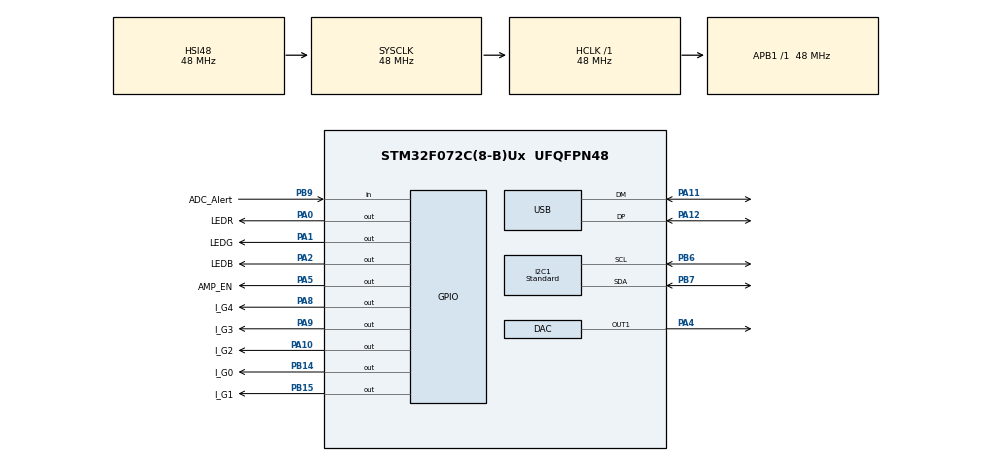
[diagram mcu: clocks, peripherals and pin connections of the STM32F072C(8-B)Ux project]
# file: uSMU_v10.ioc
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Mcu.Family=STM32F0
USB_DEVICE.CLASS_NAME_FS=CDC
I2C1.I2C_Speed_Mode=I2C_Standard
NVIC.USB_IRQn=true\:0\:0\:false\:false\:true\:false\:true
I2C1.GeneralCallMode=I2C_GENERALCALL_DISABLE
USB_DEVICE.INTERFACE_STRING_CDC_FS=CDC Interface
PA10.GPIO_PuPd=GPIO_PULLDOWN
USB_DEVICE.PID_CDC_FS=22336
PB14.GPIO_Label=I_G0
I2C1.I2C_Rise_Time=0
PA0.GPIO_Label=LEDR
PA11.Mode=Device
USB.lpm_enable=DISABLE
PB15.Signal=GPIO_Output
RCC.SYSCLKSource=RCC_SYSCLKSOURCE_HSI48
ProjectManager.StackSize=0x400
USB_DEVICE.MANUFACTURER_STRING=STMicroelectronics
PA12.Signal=USB_DP
USB_DEVICE.USBD_MAX_NUM_INTERFACES=1
RCC.HCLKFreq_Value=48000000
RCC.FLatency=FLASH_LATENCY_1
PB6.Signal=I2C1_SCL
PB6.Mode=I2C
I2C1.AddressingMode=I2C_ADDRESSINGMODE_7BIT
RCC.AHBFreq_Value=48000000
DAC.DAC_Trigger-DAC_OUT1=DAC_TRIGGER_NONE
I2C1.NoStretchMode=I2C_NOSTRETCH_DISABLE
USB_DEVICE.USBD_SELF_POWERED=0
PA14.Mode=Serial_Wire
PA10.GPIO_Label=I_G2
PB7.Signal=I2C1_SDA
PA8.Signal=GPIO_Output
PA0.Signal=GPIO_Output
Mcu.Package=UFQFPN48
PB9.Signal=GPIO_Input
PB14.GPIO_PuPd=GPIO_PULLDOWN
PB15.GPIO_PuPd=GPIO_PULLDOWN
PA2.GPIO_Label=LEDB
PA10.Signal=GPIO_Output
USB.DeviceSpeed=PCD_SPEED_FULL
RCC.APB1TimFreq_Value=48000000
USB_DEVICE.USBD_DEBUG_LEVEL=0
SH.COMP_DAC1_group.0=DAC_OUT1,DAC_OUT1
I2C1.Speed=100
PB9.GPIO_Label=ADC_Alert
USB_DEVICE.VirtualModeFS=Cdc_FS
I2C1.I2C_Fall_Time=0
PA9.GPIO_Label=I_G3
PA9.GPIO_PuPd=GPIO_PULLDOWN
I2C1.Analog_Filter=I2C_ANALOGFILTER_ENABLE
I2C1.DualAddressMode=I2C_DUALADDRESS_DISABLE
PA13.Signal=SYS_SWDIO
PA8.GPIO_Label=I_G4
USB_DEVICE.VID=1155
ProjectManager.TargetToolchain=STM32CubeIDE
USB_DEVICE.PRODUCT_STRING_CDC_FS=STM32 Virtual ComPort
I2C1.I2C_Coeff_DF=0
VP_USB_DEVICE_VS_USB_DEVICE_CDC_FS.Mode=CDC_FS
PA9.Signal=GPIO_Output
USB_DEVICE.CONFIGURATION_STRING_CDC_FS=CDC Config
PA1.Signal=GPIO_Output
PB14.Signal=GPIO_Output
PA5.Signal=GPIO_Output
USB_DEVICE.LANGID_STRING=1033
board=custom
USB.low_power_enable=DISABLE
PB15.GPIO_Label=I_G1
PA1.GPIO_Label=LEDG
PA13.Mode=Serial_Wire
Mcu.Name=STM32F072C(8-B)Ux
PA2.Signal=GPIO_Output
I2C1.OwnAddress=0
PA4.Signal=COMP_DAC1_group
RCC.SYSCLKFreq_VALUE=48000000
PA12.Mode=Device
PA5.GPIO_Label=AMP_EN
DAC.DAC_OutputBuffer-DAC_OUT1=DAC_OUTPUTBUFFER_ENABLE
PB7.Mode=I2C
PA11.Signal=USB_DM
USB_DEVICE.APP_TX_DATA_SIZE=1000
PA14.Signal=SYS_SWCLK
ProjectManager.HeapSize=0x200
USB_DEVICE.USBD_MAX_NUM_CONFIGURATION=1
PA8.GPIO_PuPd=GPIO_PULLDOWN
USB.phy_itface=PCD_PHY_EMBEDDED
USB_DEVICE.APP_RX_DATA_SIZE=1000
RCC.APB1Freq_Value=48000000
USB_DEVICE.VirtualMode=Cdc
USB_DEVICE.USBD_MAX_STR_DESC_SIZ=512

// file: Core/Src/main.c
/* USER CODE BEGIN Header */
/**
 ******************************************************************************
 * @file           : main.c
 * @brief          : Main program body
 ******************************************************************************
 * @attention
 *
 * <h2><center>&copy; Copyright (c) 2021 STMicroelectronics.
 * All rights reserved.</center></h2>
 *
 * This software component is licensed by ST under Ultimate Liberty license
 * SLA0044, the "License"; You may not use this file except in compliance with
 * the License. You may obtain a copy of the License at:
 *                             www.st.com/SLA0044
 *
 ******************************************************************************
 */
/* USER CODE END Header */
#include "main.h"
#include "usb_device.h"

/* USER CODE BEGIN Includes */
#include "usbd_cdc_if.h"
#include "stdbool.h"
#include "stdlib.h"

#include "ee.h"
/* USER CODE END Includes */

/* USER CODE BEGIN PTD */
#define ADS1115_ADDRESS 0x48 // I2C addresses of ADC and DAC
#define DAC8571_ADDRESS 0x4C
/* USER CODE END PTD */

DAC_HandleTypeDef hdac;

I2C_HandleTypeDef hi2c1;

/* USER CODE BEGIN PV */
uint8_t UserRxBuffer[128];
volatile bool usbMessageReceived = false;

bool calibration_mode = false;
bool auto_gain_active = true;

float shunt_resistance = 49.9; // Resistance of shunt resistor in ohms

float i_amp_gain = 1.375; // Gain setting of current-sense amplifier

uint16_t num_oversamples = 25;

float x_ilim = 0;
float y_ilim = 0;

float dac_xadj = 0;
float dac_yadj = 0;

float zerocurrent_x = 0;
float zerocurrent_y = 0;

// 1.375x gain
float zerocurrent_x_1p375 = 0;
float zerocurrent_y_1p375 = 0;

// 8x gain
float zerocurrent_x_8 = 0;
float zerocurrent_y_8 = 0;

// 64x gain
float zerocurrent_x_64 = 0;
float zerocurrent_y_64 = 0;

// 176x gain
float zerocurrent_x_176 = 0;
float zerocurrent_y_176 = 0;

float v_xadj = 0;
float v_yadj = 0;

/* USER CODE END PV */

void SystemClock_Config(void);
static void MX_GPIO_Init(void);
static void MX_DAC_Init(void);
static void MX_I2C1_Init(void);

/* USER CODE BEGIN 0 */
uint16_t adc_read_differential(uint8_t channel)
{
	uint8_t conversion_reg = 0x00;
	uint8_t config_reg = 0x01;
	uint8_t lothresh_reg = 0x02;
	uint8_t hithresh_reg = 0x03;

	unsigned char ADSwrite[6];
	int16_t reading;

	switch (channel)
	{
	case 0:
		ADSwrite[1] = 0b10000011;
		break;
	case 2:
		ADSwrite[1] = 0b10110011;
		break;
	}

	//HAL_GPIO_WritePin(GPIOA, LEDR_Pin, GPIO_PIN_SET);

	ADSwrite[0] = config_reg; // Point to config register
	ADSwrite[2] = 0b10001000; // 128SPS. For Alert pin, set COMP_QUE to anything but 11. Active low

	HAL_I2C_Master_Transmit(&hi2c1, ADS1115_ADDRESS << 1, ADSwrite, 3, 100);

	while (HAL_GPIO_ReadPin(ADC_Alert_GPIO_Port, ADC_Alert_Pin) == 0)
	{
		//HAL_GPIO_WritePin(GPIOA, LEDR_Pin, GPIO_PIN_RESET);
	}
	//HAL_GPIO_WritePin(GPIOA, LEDR_Pin, GPIO_PIN_SET);

	ADSwrite[0] = conversion_reg; // Now point to conversion register

	HAL_I2C_Master_Transmit(&hi2c1, ADS1115_ADDRESS << 1, ADSwrite, 1, 100);

	HAL_I2C_Master_Receive(&hi2c1, ADS1115_ADDRESS << 1, ADSwrite, 2, 100);
	reading = (ADSwrite[0] << 8 | ADSwrite[1]);

	return reading;
}

void adc_init()
{
	uint8_t conversion_reg = 0x00;
	uint8_t config_reg = 0x01;
	uint8_t lothresh_reg = 0x02;
	uint8_t hithresh_reg = 0x03;

	unsigned char ADSwrite[6];

	ADSwrite[0] = hithresh_reg;
	ADSwrite[1] = 0x80;
	ADSwrite[2] = 0x00;
	HAL_I2C_Master_Transmit(&hi2c1, ADS1115_ADDRESS << 1, ADSwrite, 3, 100);

	ADSwrite[0] = lothresh_reg;
	ADSwrite[1] = 0x7F;
	ADSwrite[2] = 0xFF;
	HAL_I2C_Master_Transmit(&hi2c1, ADS1115_ADDRESS << 1, ADSwrite, 3, 100);
}

uint16_t adc_read_singleended(uint8_t channel)
{
	uint8_t conversion_reg = 0x00;
	uint8_t config_reg = 0x01;

	unsigned char ADSwrite[6];
	int16_t reading;

	switch (channel)
	{
	case 0:
		ADSwrite[1] = 0xC3;
		break;
	case 1:
		ADSwrite[1] = 0xD3;
		break;
	case 2:
		ADSwrite[1] = 0xE3;
		break;
	case 3:
		ADSwrite[1] = 0xF3;
		break;
	}

	ADSwrite[0] = config_reg; // Point to config register
	ADSwrite[2] = 0b10001000; // 128SPS. For Alert pin, set COMP_QUE to anything but 11. Active low

	HAL_I2C_Master_Transmit(&hi2c1, ADS1115_ADDRESS << 1, ADSwrite, 3, 100);

	while (HAL_GPIO_ReadPin(ADC_Alert_GPIO_Port, ADC_Alert_Pin) == 0)
	{
		//HAL_GPIO_WritePin(GPIOA, LEDR_Pin, GPIO_PIN_RESET);
	}
	//HAL_GPIO_WritePin(GPIOA, LEDR_Pin, GPIO_PIN_SET);

	ADSwrite[0] = conversion_reg; // Now point to conversion register

	HAL_I2C_Master_Transmit(&hi2c1, ADS1115_ADDRESS << 1, ADSwrite, 1, 100);

	HAL_I2C_Master_Receive(&hi2c1, ADS1115_ADDRESS << 1, ADSwrite, 2, 100);
	reading = (ADSwrite[0] << 8 | ADSwrite[1]);
	if (reading < 0)
	{
		reading = 0;
	}
	return reading;
}

void set_current_limit(float current_ma)
{
	if (current_ma > 40)
	{
		float current_ma = 40;
	}
	float dac_level = (current_ma * x_ilim) + y_ilim;

	uint16_t dac_level_int = (int) dac_level;

	HAL_DAC_SetValue(&hdac, DAC_CHANNEL_1, DAC_ALIGN_12B_R, dac_level_int);
	HAL_DAC_Start(&hdac, DAC_CHANNEL_1);
}

void DAC8571_amp_dac_write(uint16_t level)
{
	unsigned char DACbuffer[3];

	DACbuffer[0] = 0b00010000; //Set write mode
	DACbuffer[1] = level >> 8;
	DACbuffer[2] = level;

	HAL_I2C_Master_Transmit(&hi2c1, DAC8571_ADDRESS << 1, DACbuffer, 3, 100);
}

void dac_write_voltage(float voltage)
{
	float flevel = (dac_xadj * voltage) + dac_yadj;
	uint16_t level = round(flevel);
	DAC8571_amp_dac_write(level);
}

void adc(uint8_t channel)
{
	uint16_t adc = adc_read_differential(channel);
	char adcmsg[16];
	memset(adcmsg, 0, sizeof(adcmsg));
	sprintf(adcmsg, "%d", adc);
	CDC_Transmit_FS(adcmsg, sizeof(adcmsg));
}

void single_shot()
{
	float voltage_running = 0;
	float current_running = 0;

	for (int i = 0; i < num_oversamples; i++)
	{
		uint16_t v_measure = adc_read_singleended(0);

		int16_t i_measure = adc_read_differential(2);
		float voltage = 0;
		if (calibration_mode == false)
		{
			voltage = (v_measure * v_xadj) + v_yadj;
		}
		else
		{
			voltage = v_measure;
		}

		float current = (i_measure * 0.125 / 1000) / shunt_resistance
				/ i_amp_gain;
		current = current + ((zerocurrent_x * voltage) + zerocurrent_y);
		float current_abs = fabs(current);

		// Set programmable gain amplifier based on the last measured current
		if (auto_gain_active == true)
		{
			if (current_abs > 1E-2)
			{
				// Purple
				set_pga_gain_1p375();
			}
			if (current_abs > 1E-3 && current_abs <= 1E-2)
			{
				// Red
				set_pga_gain_8();
			}
			if (current_abs > 1E-4 && current_abs <= 1E-3)
			{
				// Green
				set_pga_gain_64();
			}
			if (current_abs < 1E-5)
			{
				// Blue
				set_pga_gain_176();
			}
		}

		voltage_running += voltage;
		current_running += current;
	}

	voltage_running /= num_oversamples;
	current_running /= num_oversamples;

	char vmsg[32];
	char imsg[32];

	memset(vmsg, 0, sizeof(vmsg));
	memset(imsg, 0, sizeof(imsg));

	sprintf(vmsg, "%4.3f", voltage_running);
	sprintf(imsg, "%e", current_running);

	strcat(vmsg, ",");
	strcat(vmsg, imsg);

	strcat(vmsg, "\n");
	CDC_Transmit_FS(vmsg, sizeof(vmsg));

}

void set_pga_gain_1p375()
{
	HAL_GPIO_WritePin(GPIOA, LEDR_Pin, GPIO_PIN_RESET);
	HAL_GPIO_WritePin(GPIOA, LEDG_Pin, GPIO_PIN_SET);
	HAL_GPIO_WritePin(GPIOA, LEDB_Pin, GPIO_PIN_RESET);

	HAL_GPIO_WritePin(GPIOB, I_G0_Pin, GPIO_PIN_SET);
	HAL_GPIO_WritePin(GPIOB, I_G1_Pin, GPIO_PIN_SET);
	HAL_GPIO_WritePin(GPIOA, I_G2_Pin, GPIO_PIN_RESET);
	HAL_GPIO_WritePin(GPIOA, I_G3_Pin, GPIO_PIN_RESET);
	HAL_GPIO_WritePin(GPIOA, I_G4_Pin, GPIO_PIN_SET);
	// 01001

	i_amp_gain = 1.375;
	if (calibration_mode == false)
	{
		zerocurrent_x = zerocurrent_x_1p375;
		zerocurrent_y = zerocurrent_y_1p375;
	}
}

void set_pga_gain_8()
{
	HAL_GPIO_WritePin(GPIOA, LEDR_Pin, GPIO_PIN_RESET);
	HAL_GPIO_WritePin(GPIOA, LEDG_Pin, GPIO_PIN_SET);
	HAL_GPIO_WritePin(GPIOA, LEDB_Pin, GPIO_PIN_SET);

	HAL_GPIO_WritePin(GPIOB, I_G0_Pin, GPIO_PIN_RESET);
	HAL_GPIO_WritePin(GPIOB, I_G1_Pin, GPIO_PIN_SET);
	HAL_GPIO_WritePin(GPIOA, I_G2_Pin, GPIO_PIN_SET);
	HAL_GPIO_WritePin(GPIOA, I_G3_Pin, GPIO_PIN_RESET);
	HAL_GPIO_WritePin(GPIOA, I_G4_Pin, GPIO_PIN_RESET);

	i_amp_gain = 8;
	if (calibration_mode == false)
	{
		zerocurrent_x = zerocurrent_x_8;
		zerocurrent_y = zerocurrent_y_8;
	}

}

void set_pga_gain_64()
{
	HAL_GPIO_WritePin(GPIOA, LEDR_Pin, GPIO_PIN_SET);
	HAL_GPIO_WritePin(GPIOA, LEDG_Pin, GPIO_PIN_RESET);
	HAL_GPIO_WritePin(GPIOA, LEDB_Pin, GPIO_PIN_SET);

	HAL_GPIO_WritePin(GPIOB, I_G0_Pin, GPIO_PIN_SET);
	HAL_GPIO_WritePin(GPIOB, I_G1_Pin, GPIO_PIN_RESET);
	HAL_GPIO_WritePin(GPIOA, I_G2_Pin, GPIO_PIN_RESET);
	HAL_GPIO_WritePin(GPIOA, I_G3_Pin, GPIO_PIN_SET);
	HAL_GPIO_WritePin(GPIOA, I_G4_Pin, GPIO_PIN_RESET);

	i_amp_gain = 64;
	if (calibration_mode == false)
	{
		zerocurrent_x = zerocurrent_x_64;
		zerocurrent_y = zerocurrent_y_64;
	}
}

void set_pga_gain_176()
{
	HAL_GPIO_WritePin(GPIOA, LEDR_Pin, GPIO_PIN_SET);
	HAL_GPIO_WritePin(GPIOA, LEDG_Pin, GPIO_PIN_SET);
	HAL_GPIO_WritePin(GPIOA, LEDB_Pin, GPIO_PIN_RESET);

	HAL_GPIO_WritePin(GPIOB, I_G0_Pin, GPIO_PIN_RESET);
	HAL_GPIO_WritePin(GPIOB, I_G1_Pin, GPIO_PIN_SET);
	HAL_GPIO_WritePin(GPIOA, I_G2_Pin, GPIO_PIN_RESET);
	HAL_GPIO_WritePin(GPIOA, I_G3_Pin, GPIO_PIN_SET);
	HAL_GPIO_WritePin(GPIOA, I_G4_Pin, GPIO_PIN_SET);

	i_amp_gain = 176;
	if (calibration_mode == false)
	{
		zerocurrent_x = zerocurrent_x_176;
		zerocurrent_y = zerocurrent_y_176;
	}
}

void read_eeprom()
{
	// Reads calibration data from emulated EEPROM

	uint8_t dataBuffer[4];

	memset(dataBuffer, 0, sizeof(dataBuffer));
	ee_read(0, 4, dataBuffer);
	memcpy(&dac_xadj, dataBuffer, sizeof dac_xadj);

	memset(dataBuffer, 0, sizeof(dataBuffer));
	ee_read(4, 4, dataBuffer);
	memcpy(&dac_yadj, dataBuffer, sizeof dac_yadj);

	memset(dataBuffer, 0, sizeof(dataBuffer));
	ee_read(8, 4, dataBuffer);
	memcpy(&v_xadj, dataBuffer, sizeof v_xadj);

	memset(dataBuffer, 0, sizeof(dataBuffer));
	ee_read(12, 4, dataBuffer);
	memcpy(&v_yadj, dataBuffer, sizeof v_yadj);

	memset(dataBuffer, 0, sizeof(dataBuffer));
	ee_read(16, 4, dataBuffer);
	memcpy(&zerocurrent_x_8, dataBuffer, sizeof zerocurrent_x_8);

	memset(dataBuffer, 0, sizeof(dataBuffer));
	ee_read(20, 4, dataBuffer);
	memcpy(&zerocurrent_y_8, dataBuffer, sizeof zerocurrent_y_8);

	memset(dataBuffer, 0, sizeof(dataBuffer));
	ee_read(24, 4, dataBuffer);
	memcpy(&zerocurrent_x_64, dataBuffer, sizeof zerocurrent_x_64);

	memset(dataBuffer, 0, sizeof(dataBuffer));
	ee_read(28, 4, dataBuffer);
	memcpy(&zerocurrent_y_64, dataBuffer, sizeof zerocurrent_y_64);

	memset(dataBuffer, 0, sizeof(dataBuffer));
	ee_read(32, 4, dataBuffer);
	memcpy(&zerocurrent_x_176, dataBuffer, sizeof zerocurrent_x_176);

	memset(dataBuffer, 0, sizeof(dataBuffer));
	ee_read(36, 4, dataBuffer);
	memcpy(&zerocurrent_y_176, dataBuffer, sizeof zerocurrent_y_176);

	memset(dataBuffer, 0, sizeof(dataBuffer));
	ee_read(40, 4, dataBuffer);
	memcpy(&x_ilim, dataBuffer, sizeof x_ilim);

	memset(dataBuffer, 0, sizeof(dataBuffer));
	ee_read(44, 4, dataBuffer);
	memcpy(&y_ilim, dataBuffer, sizeof y_ilim);

	memset(dataBuffer, 0, sizeof(dataBuffer));
	ee_read(48, 4, dataBuffer);
	memcpy(&zerocurrent_x_1p375, dataBuffer, sizeof zerocurrent_x_1p375);

	memset(dataBuffer, 0, sizeof(dataBuffer));
	ee_read(52, 4, dataBuffer);
	memcpy(&zerocurrent_y_1p375, dataBuffer, sizeof zerocurrent_y_1p375);
}

void dacReadBack()
{
	unsigned char DACbuffer[3];

	DACbuffer[0] = 00000000; //Set write mode
	DACbuffer[1] = 00000000;
	DACbuffer[2] = 00000000;

	HAL_I2C_Master_Receive(&hi2c1, DAC8571_ADDRESS << 1, DACbuffer, 3, 100);

	uint16_t reading = (DACbuffer[0] << 8 | DACbuffer[1]);

}

/* USER CODE END 0 */

int main(void)
{

	/* MCU Configuration--------------------------------------------------------*/

	/* Reset of all peripherals, Initializes the Flash interface and the Systick. */
	HAL_Init();

	/* Configure the system clock */
	SystemClock_Config();

	/* Initialize all configured peripherals */
	MX_GPIO_Init();
	MX_DAC_Init();
	MX_I2C1_Init();
	MX_USB_DEVICE_Init();
	/* USER CODE BEGIN 2 */

	adc_init();
	ee_init();
	read_eeprom();

	// RESET = LOW, SET = HIGH
	HAL_GPIO_WritePin(GPIOA, LEDR_Pin, GPIO_PIN_RESET);
	HAL_GPIO_WritePin(GPIOA, LEDG_Pin, GPIO_PIN_RESET);
	HAL_GPIO_WritePin(GPIOA, LEDB_Pin, GPIO_PIN_RESET);

	HAL_GPIO_WritePin(GPIOB, I_G0_Pin, GPIO_PIN_RESET);
	HAL_GPIO_WritePin(GPIOB, I_G1_Pin, GPIO_PIN_RESET);
	HAL_GPIO_WritePin(GPIOA, I_G2_Pin, GPIO_PIN_RESET);
	HAL_GPIO_WritePin(GPIOA, I_G3_Pin, GPIO_PIN_RESET);
	HAL_GPIO_WritePin(GPIOA, I_G4_Pin, GPIO_PIN_RESET);

	//set_pga_gain_8();
	set_pga_gain_1p375();
	/* USER CODE END 2 */

	/* Infinite loop */
	/* USER CODE BEGIN WHILE */
	while (1)
	{
		if (usbMessageReceived == true)
		{
			//RGB_Led_SetIntensity(2, 0, 0, 100);

			char chRxBuffer[2048];

			// Take the uint8_t buffer and turn it into a char array
			for (int i = 0; i <= 2048; i++)
			{
				chRxBuffer[i] = UserRxBuffer[i];
			}

			usbMessageReceived = false;

			char manualDACSearch[] = "DAC";
			char manualCurDACSearch[] = "ILIM";

			char adcSearch[] = "ADC";

			char ampEnableSearch[] = "CH1:ENA";
			char ampDisableSearch[] = "CH1:DIS";
			char setVoltageSearch[] = "CH1:VOL";
			char setMeasVoltageSearch[] = "CH1:MEA:VOL";

			char setCurrLimitSearch[] = "CH1:CUR";
			char setOversamplesSearch[] = "CH1:OSR";
			char setVCalModeSearch[] = "CH1:VCAL";
			char setManualRangeSearch[] = "CH1:RANGE";
			char setResetSearch[] = "*RST";
			char idnSearch[] = "*IDN?";

			char writeSearch[] = "WRITE";
			char readSearch[] = "*READ";

			char dacCalSearch[] = "CAL:DAC";
			char vCalSearch[] = "CAL:VOL";
			char iCal1p375Search[] = "CAL:CUR:RANGE1";
			char iCal8Search[] = "CAL:CUR:RANGE2";
			char iCal64Search[] = "CAL:CUR:RANGE3";
			char iCal176Search[] = "CAL:CUR:RANGE4";
			char iLimCalSearch[] = "CAL:ILIM";

			char *manualDACPtr = strstr(chRxBuffer, manualDACSearch);
			char *manualCurDACPtr = strstr(chRxBuffer, manualCurDACSearch);

			char *manualADCPtr = strstr(chRxBuffer, adcSearch);

			char *writeEEPtr = strstr(chRxBuffer, writeSearch);
			char *readEEPtr = strstr(chRxBuffer, readSearch);

			char *dacCalPtr = strstr(chRxBuffer, dacCalSearch);
			char *vCalPtr = strstr(chRxBuffer, vCalSearch);
			char *iCal1p375Ptr = strstr(chRxBuffer, iCal1p375Search);
			char *iCal8Ptr = strstr(chRxBuffer, iCal8Search);
			char *iCal64Ptr = strstr(chRxBuffer, iCal64Search);
			char *iCal176Ptr = strstr(chRxBuffer, iCal176Search);
			char *iLimCalPtr = strstr(chRxBuffer, iLimCalSearch);

			char *ampEnablePtr = strstr(chRxBuffer, ampEnableSearch);
			char *ampDisablePtr = strstr(chRxBuffer, ampDisableSearch);
			char *setVoltagePtr = strstr(chRxBuffer, setVoltageSearch);
			char *setMeasVoltagePtr = strstr(chRxBuffer, setMeasVoltageSearch);

			char *setCurrLimitPtr = strstr(chRxBuffer, setCurrLimitSearch);
			char *setOSRPtr = strstr(chRxBuffer, setOversamplesSearch);
			char *setVCalModePtr = strstr(chRxBuffer, setVCalModeSearch);
			char *setManualRangePtr = strstr(chRxBuffer, setManualRangeSearch);
			char *resetPtr = strstr(chRxBuffer, setResetSearch);
			char *idnPtr = strstr(chRxBuffer, idnSearch);

			if (ampEnablePtr != NULL)
			{
				HAL_GPIO_WritePin(GPIOA, AMP_EN_Pin, 1);
			}

			else if (manualADCPtr != NULL)
			{
				strtok(chRxBuffer, " ");
				int requested_adc_channel = atoi(strtok(NULL, " "));
				adc(requested_adc_channel);
			}

			else if (ampDisablePtr != NULL)
			{
				HAL_GPIO_WritePin(GPIOA, AMP_EN_Pin, 0);
			}
			else if (setVoltagePtr != NULL)
			{
				strtok(chRxBuffer, " ");
				float requested_voltage = atof(strtok(NULL, " "));
				dac_write_voltage(requested_voltage);
			}
			else if (setMeasVoltagePtr != NULL)
			{
				strtok(chRxBuffer, " ");
				float requested_voltage = atof(strtok(NULL, " "));
				dac_write_voltage(requested_voltage);
				HAL_Delay(1);
				single_shot();
			}

			else if (setCurrLimitPtr != NULL)
			{
				strtok(chRxBuffer, " ");
				float requested_current_limit = atof(strtok(NULL, " "));
				set_current_limit(requested_current_limit);
			}

			else if (setOSRPtr != NULL)
			{
				strtok(chRxBuffer, " ");
				num_oversamples = atoi(strtok(NULL, " "));
			}

			else if (setVCalModePtr != NULL)
			{
				calibration_mode = true;
			}
			else if (setManualRangePtr != NULL)
			{
				auto_gain_active = false;
				strtok(chRxBuffer, " ");
				uint8_t range = atoi(strtok(NULL, " "));
				switch (range)
				{
				case 0:
					set_pga_gain_1p375();
					auto_gain_active = true;
					break;
				case 1:
					set_pga_gain_1p375();
					zerocurrent_x = 0;
					zerocurrent_y = 0;
					break;
				case 2:
					set_pga_gain_8();
					zerocurrent_x = 0;
					zerocurrent_y = 0;
					break;
				case 3:
					set_pga_gain_64();
					zerocurrent_x = 0;
					zerocurrent_y = 0;
					break;
				case 4:
					set_pga_gain_176();
					zerocurrent_x = 0;
					zerocurrent_y = 0;
					break;
				}

			}
			else if (resetPtr != NULL)
			{
				NVIC_SystemReset();
			}
			else if (idnPtr != NULL)
			{
				uint32_t revision =
						READ_REG(
								*((uint32_t *)UID_BASE)) + READ_REG(*((uint32_t *)(UID_BASE + 4U))) + READ_REG(*((uint32_t *)(UID_BASE + 8U)));
				char msg[64];
				memset(msg, 0, sizeof(msg));
				sprintf(msg, "uSMU version 1.0 ID:%d", revision);
				strcat(msg, "\n");
				CDC_Transmit_FS(msg, sizeof(msg));

			}

			else if (writeEEPtr != NULL)
			{
				strtok(chRxBuffer, " ");
				float num_to_write = atof(strtok(NULL, " "));

				char data[sizeof(float)];
				memcpy(data, &num_to_write, sizeof num_to_write); // send data

				ee_writeToRam(0, 4, data);
				ee_commit();
			}
			else if (dacCalPtr != NULL)
			{
				strtok(chRxBuffer, " ");
				float slope_to_write = atof(strtok(NULL, " "));
				float intercept_to_write = atof(strtok(NULL, " "));

				char x_data[sizeof(float)];
				char y_data[sizeof(float)];

				memcpy(x_data, &slope_to_write, sizeof slope_to_write); // send data
				memcpy(y_data, &intercept_to_write, sizeof intercept_to_write); // send data

				ee_writeToRam(0, 4, x_data);
				ee_writeToRam(4, 4, y_data);
				ee_commit();
			}

			else if (vCalPtr != NULL)
			{
				strtok(chRxBuffer, " ");
				float slope_to_write = atof(strtok(NULL, " "));
				float intercept_to_write = atof(strtok(NULL, " "));

				char x_data[sizeof(float)];
				char y_data[sizeof(float)];

				memcpy(x_data, &slope_to_write, sizeof slope_to_write); // send data
				memcpy(y_data, &intercept_to_write, sizeof intercept_to_write); // send data

				ee_writeToRam(8, 4, x_data);
				ee_writeToRam(12, 4, y_data);

				ee_commit();
			}
			else if (iCal1p375Ptr != NULL)
			{
				strtok(chRxBuffer, " ");
				float slope_to_write = atof(strtok(NULL, " "));
				float intercept_to_write = atof(strtok(NULL, " "));

				char x_data[sizeof(float)];
				char y_data[sizeof(float)];

				memcpy(x_data, &slope_to_write, sizeof slope_to_write); // send data
				memcpy(y_data, &intercept_to_write, sizeof intercept_to_write); // send data

				ee_writeToRam(48, 4, x_data);
				ee_writeToRam(52, 4, y_data);
				ee_commit();
			}
			else if (iCal8Ptr != NULL)
			{
				strtok(chRxBuffer, " ");
				float slope_to_write = atof(strtok(NULL, " "));
				float intercept_to_write = atof(strtok(NULL, " "));

				char x_data[sizeof(float)];
				char y_data[sizeof(float)];

				memcpy(x_data, &slope_to_write, sizeof slope_to_write); // send data
				memcpy(y_data, &intercept_to_write, sizeof intercept_to_write); // send data

				ee_writeToRam(16, 4, x_data);
				ee_writeToRam(20, 4, y_data);
				ee_commit();
			}
			else if (iCal64Ptr != NULL)
			{
				strtok(chRxBuffer, " ");
				float slope_to_write = atof(strtok(NULL, " "));
				float intercept_to_write = atof(strtok(NULL, " "));

				char x_data[sizeof(float)];
				char y_data[sizeof(float)];

				memcpy(x_data, &slope_to_write, sizeof slope_to_write); // send data
				memcpy(y_data, &intercept_to_write, sizeof intercept_to_write); // send data

				ee_writeToRam(24, 4, x_data);
				ee_writeToRam(28, 4, y_data);
				ee_commit();
			}
			else if (iCal176Ptr != NULL)
			{
				strtok(chRxBuffer, " ");
				float slope_to_write = atof(strtok(NULL, " "));
				float intercept_to_write = atof(strtok(NULL, " "));

				char x_data[sizeof(float)];
				char y_data[sizeof(float)];

				memcpy(x_data, &slope_to_write, sizeof slope_to_write); // send data
				memcpy(y_data, &intercept_to_write, sizeof intercept_to_write); // send data

				ee_writeToRam(32, 4, x_data);
				ee_writeToRam(36, 4, y_data);
				ee_commit();
			}
			else if (iLimCalPtr != NULL)
			{
				strtok(chRxBuffer, " ");
				float slope_to_write = atof(strtok(NULL, " "));
				float intercept_to_write = atof(strtok(NULL, " "));

				char x_data[sizeof(float)];
				char y_data[sizeof(float)];

				memcpy(x_data, &slope_to_write, sizeof slope_to_write); // send data
				memcpy(y_data, &intercept_to_write, sizeof intercept_to_write); // send data

				ee_writeToRam(40, 4, x_data);
				ee_writeToRam(44, 4, y_data);
				ee_commit();
			}

			else if (readEEPtr != NULL)
			{
				strtok(chRxBuffer, " ");
				int requested_address = atoi(strtok(NULL, " "));

				static uint8_t dataRead[4];
				ee_read(requested_address, 4, dataRead);
				float g;
				memcpy(&g, dataRead, sizeof g);    // receive data

				char msg[1024];
				memset(msg, 0, sizeof(msg));
				sprintf(msg, "%e", g);
				strcat(msg, "\n");
				CDC_Transmit_FS(msg, sizeof(msg));

			}
			else if (manualCurDACPtr != NULL)
			{
				strtok(chRxBuffer, " ");
				int requested_level = atoi(strtok(NULL, " "));
				HAL_DAC_SetValue(&hdac, DAC_CHANNEL_1, DAC_ALIGN_12B_R,
						requested_level);
				HAL_DAC_Start(&hdac, DAC_CHANNEL_1);
			}
			else if (manualDACPtr != NULL)
			{
				strtok(chRxBuffer, " ");
				int requested_level = atoi(strtok(NULL, " "));
				DAC8571_amp_dac_write(requested_level);
			}

			else
			{
				char msg[1024] = "Test string not found";
				strcat(msg, "\n");
				CDC_Transmit_FS(msg, sizeof(msg));
			}
		}
		/* USER CODE END WHILE */

	}
}

void SystemClock_Config(void)
{
	RCC_OscInitTypeDef RCC_OscInitStruct =
	{ 0 };
	RCC_ClkInitTypeDef RCC_ClkInitStruct =
	{ 0 };
	RCC_PeriphCLKInitTypeDef PeriphClkInit =
	{ 0 };

	/** Initializes the RCC Oscillators according to the specified parameters
	 * in the RCC_OscInitTypeDef structure.
	 */
	RCC_OscInitStruct.OscillatorType = RCC_OSCILLATORTYPE_HSI
			| RCC_OSCILLATORTYPE_HSI48;
	RCC_OscInitStruct.HSIState = RCC_HSI_ON;
	RCC_OscInitStruct.HSI48State = RCC_HSI48_ON;
	RCC_OscInitStruct.HSICalibrationValue = RCC_HSICALIBRATION_DEFAULT;
	RCC_OscInitStruct.PLL.PLLState = RCC_PLL_NONE;
	if (HAL_RCC_OscConfig(&RCC_OscInitStruct) != HAL_OK)
	{
		Error_Handler();
	}
	/** Initializes the CPU, AHB and APB buses clocks
	 */
	RCC_ClkInitStruct.ClockType = RCC_CLOCKTYPE_HCLK | RCC_CLOCKTYPE_SYSCLK
			| RCC_CLOCKTYPE_PCLK1;
	RCC_ClkInitStruct.SYSCLKSource = RCC_SYSCLKSOURCE_HSI48;
	RCC_ClkInitStruct.AHBCLKDivider = RCC_SYSCLK_DIV1;
	RCC_ClkInitStruct.APB1CLKDivider = RCC_HCLK_DIV1;

	if (HAL_RCC_ClockConfig(&RCC_ClkInitStruct, FLASH_LATENCY_1) != HAL_OK)
	{
		Error_Handler();
	}
	PeriphClkInit.PeriphClockSelection = RCC_PERIPHCLK_USB | RCC_PERIPHCLK_I2C1;
	PeriphClkInit.I2c1ClockSelection = RCC_I2C1CLKSOURCE_HSI;
	PeriphClkInit.UsbClockSelection = RCC_USBCLKSOURCE_HSI48;

	if (HAL_RCCEx_PeriphCLKConfig(&PeriphClkInit) != HAL_OK)
	{
		Error_Handler();
	}
}

static void MX_DAC_Init(void)
{

	DAC_ChannelConfTypeDef sConfig =
	{ 0 };

	/** DAC Initialization
	 */
	hdac.Instance = DAC;
	if (HAL_DAC_Init(&hdac) != HAL_OK)
	{
		Error_Handler();
	}
	/** DAC channel OUT1 config
	 */
	sConfig.DAC_Trigger = DAC_TRIGGER_NONE;
	sConfig.DAC_OutputBuffer = DAC_OUTPUTBUFFER_ENABLE;
	if (HAL_DAC_ConfigChannel(&hdac, &sConfig, DAC_CHANNEL_1) != HAL_OK)
	{
		Error_Handler();
	}

}

static void MX_I2C1_Init(void)
{

	hi2c1.Instance = I2C1;
	hi2c1.Init.Timing = 0x2000090E;
	hi2c1.Init.OwnAddress1 = 0;
	hi2c1.Init.AddressingMode = I2C_ADDRESSINGMODE_7BIT;
	hi2c1.Init.DualAddressMode = I2C_DUALADDRESS_DISABLE;
	hi2c1.Init.OwnAddress2 = 0;
	hi2c1.Init.OwnAddress2Masks = I2C_OA2_NOMASK;
	hi2c1.Init.GeneralCallMode = I2C_GENERALCALL_DISABLE;
	hi2c1.Init.NoStretchMode = I2C_NOSTRETCH_DISABLE;
	if (HAL_I2C_Init(&hi2c1) != HAL_OK)
	{
		Error_Handler();
	}
	/** Configure Analogue filter
	 */
	if (HAL_I2CEx_ConfigAnalogFilter(&hi2c1, I2C_ANALOGFILTER_ENABLE) != HAL_OK)
	{
		Error_Handler();
	}
	/** Configure Digital filter
	 */
	if (HAL_I2CEx_ConfigDigitalFilter(&hi2c1, 0) != HAL_OK)
	{
		Error_Handler();
	}

}

static void MX_GPIO_Init(void)
{
	GPIO_InitTypeDef GPIO_InitStruct =
	{ 0 };

	/* GPIO Ports Clock Enable */
	__HAL_RCC_GPIOA_CLK_ENABLE();
	__HAL_RCC_GPIOB_CLK_ENABLE();

	/*Configure GPIO pin Output Level */
	HAL_GPIO_WritePin(GPIOA,
			LEDR_Pin | LEDG_Pin | LEDB_Pin | AMP_EN_Pin | I_G4_Pin | I_G3_Pin
					| I_G2_Pin, GPIO_PIN_RESET);

	/*Configure GPIO pin Output Level */
	HAL_GPIO_WritePin(GPIOB, I_G0_Pin | I_G1_Pin, GPIO_PIN_RESET);

	/*Configure GPIO pins : LEDR_Pin LEDG_Pin LEDB_Pin AMP_EN_Pin */
	GPIO_InitStruct.Pin = LEDR_Pin | LEDG_Pin | LEDB_Pin | AMP_EN_Pin;
	GPIO_InitStruct.Mode = GPIO_MODE_OUTPUT_PP;
	GPIO_InitStruct.Pull = GPIO_NOPULL;
	GPIO_InitStruct.Speed = GPIO_SPEED_FREQ_LOW;
	HAL_GPIO_Init(GPIOA, &GPIO_InitStruct);

	/*Configure GPIO pins : I_G0_Pin I_G1_Pin */
	GPIO_InitStruct.Pin = I_G0_Pin | I_G1_Pin;
	GPIO_InitStruct.Mode = GPIO_MODE_OUTPUT_PP;
	GPIO_InitStruct.Pull = GPIO_PULLDOWN;
	GPIO_InitStruct.Speed = GPIO_SPEED_FREQ_LOW;
	HAL_GPIO_Init(GPIOB, &GPIO_InitStruct);

	/*Configure GPIO pins : I_G4_Pin I_G3_Pin I_G2_Pin */
	GPIO_InitStruct.Pin = I_G4_Pin | I_G3_Pin | I_G2_Pin;
	GPIO_InitStruct.Mode = GPIO_MODE_OUTPUT_PP;
	GPIO_InitStruct.Pull = GPIO_PULLDOWN;
	GPIO_InitStruct.Speed = GPIO_SPEED_FREQ_LOW;
	HAL_GPIO_Init(GPIOA, &GPIO_InitStruct);

	/*Configure GPIO pin : ADC_Alert_Pin */
	GPIO_InitStruct.Pin = ADC_Alert_Pin;
	GPIO_InitStruct.Mode = GPIO_MODE_INPUT;
	GPIO_InitStruct.Pull = GPIO_NOPULL;
	HAL_GPIO_Init(ADC_Alert_GPIO_Port, &GPIO_InitStruct);

}

void Error_Handler(void)
{
	__disable_irq();
	while (1)
	{
	}
}

/************************ (C) COPYRIGHT STMicroelectronics *****END OF FILE****/
